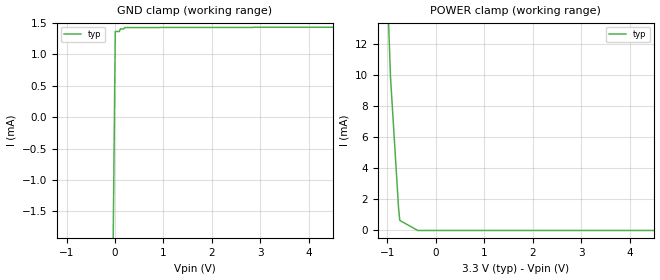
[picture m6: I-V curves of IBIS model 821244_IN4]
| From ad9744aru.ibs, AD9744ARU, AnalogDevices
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| COPYRIGHT(C) MENTOR GRAPHICS CORPORATION 2002 ALL
| RIGHTS RESERVED. THIS WORK CONTAINS PROPRIETARY
| INFORMATION WHICH IS THE PROPERTY OF MENTOR GRAPHICS
| CORPORATION OR ITS LICENSORS. USE OF THESE MATERIALS
| IS SUBJECT TO THE TERMS BELOW.
| USE: MENTOR GRAPHICS HAS LICENSED IBIS MODELS TO
| SPECIFIC INTEGRATED CIRCUIT SUPPLIERS ("IC VENDORS")
| FOR USE AND DISTRIBUTION AS FOLLOWS: EACH IC VENDOR
| MAY USE IBIS MODELS, AND DISTRIBUTE THEM TO IC VENDOR'S
| CUSTOMERS TO USE, SOLELY FOR DEVELOPING PRINTED
| CIRCUIT BOARD DESIGNS. NO OTHER USE OR DISTRIBUTION
| OF THESE MATERIALS IS PERMITTED.
| Model Application Version 1.89 2/18/99.
[Model] 821244_IN4
Model_type Input
Vinl = 900.0mV
Vinh = 2.100V
C_comp 5.000pF NA NA
| variable typ   min   max
[Voltage Range] 3.300V NA NA
[GND Clamp Reference] 0.000V NA NA
[POWER Clamp Reference] 3.300V NA NA
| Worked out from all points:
|   POWER clamp passes 1 mA (typ) near -0.76 V on its own axis
[GND Clamp]
-3.3V     -253.5mA   NA         NA
5.292mV   1.361mA    NA         NA
90.3mV    1.361mA    NA         NA
111.5mV   1.402mA    NA         NA
179.9mV   1.402mA    NA         NA
202.7mV   1.423mA    NA         NA
908.2mV   1.423mA    NA         NA
937.6mV   1.425mA    NA         NA
2.843V    1.425mA    NA         NA
2.873V    1.428mA    NA         NA
6.6V      1.428mA    NA         NA
[POWER Clamp]
-3.3V     289.2mA    NA         NA
-1.088V   23.29mA    NA         NA
-936.3mV  9.91mA     NA         NA
-769.1mV  1.412mA    NA         NA
-743.7mV  647.4uA    NA         NA
-371.9mV  0A         NA         NA
6.6V      0A         NA         NA
